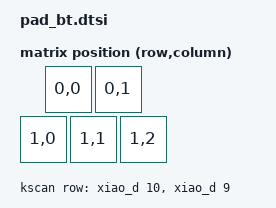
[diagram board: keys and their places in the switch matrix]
#include <physical_layouts.dtsi>
#include <dt-bindings/zmk/matrix_transform.h>

/ {
    chosen {
        zmk,physical-layout = &layout;
        zmk,kscan = &kscan;
    };

    kscan: kscan {
        compatible = "zmk,kscan-gpio-matrix";
        diode-direction = "col2row";
        wakeup-source;


        row-gpios = <&xiao_d 10 (GPIO_ACTIVE_HIGH | GPIO_PULL_DOWN)>,
                    <&xiao_d 9 (GPIO_ACTIVE_HIGH | GPIO_PULL_DOWN)>;

    };

    transform: matrix_transform {
        compatible = "zmk,matrix-transform";
        rows = <2>;
        columns = <3>;

        map = <
        //   Key 1 | Key 2
            RC(0,0) RC(0,1)
        //   Key 3 | Key 4 | Key 5
            RC(1,0) RC(1,1) RC(1,2)
        >;

    };
    
    layout: layout {
        compatible = "zmk,physical-layout";
        display-name = "TogKey Pad Wireless";
        kscan = <&kscan>;
        transform = <&transform>;

        keys  //                     w   h    x    y     rot    rx    ry
            = <&key_physical_attrs 100 100   50    0       0     0     0>
            , <&key_physical_attrs 100 100  150    0       0     0     0>
            , <&key_physical_attrs 100 100    0  100       0     0     0>
            , <&key_physical_attrs 100 100  100  100       0     0     0>
            , <&key_physical_attrs 100 100  200  100       0     0     0>
            ;
    };
};
